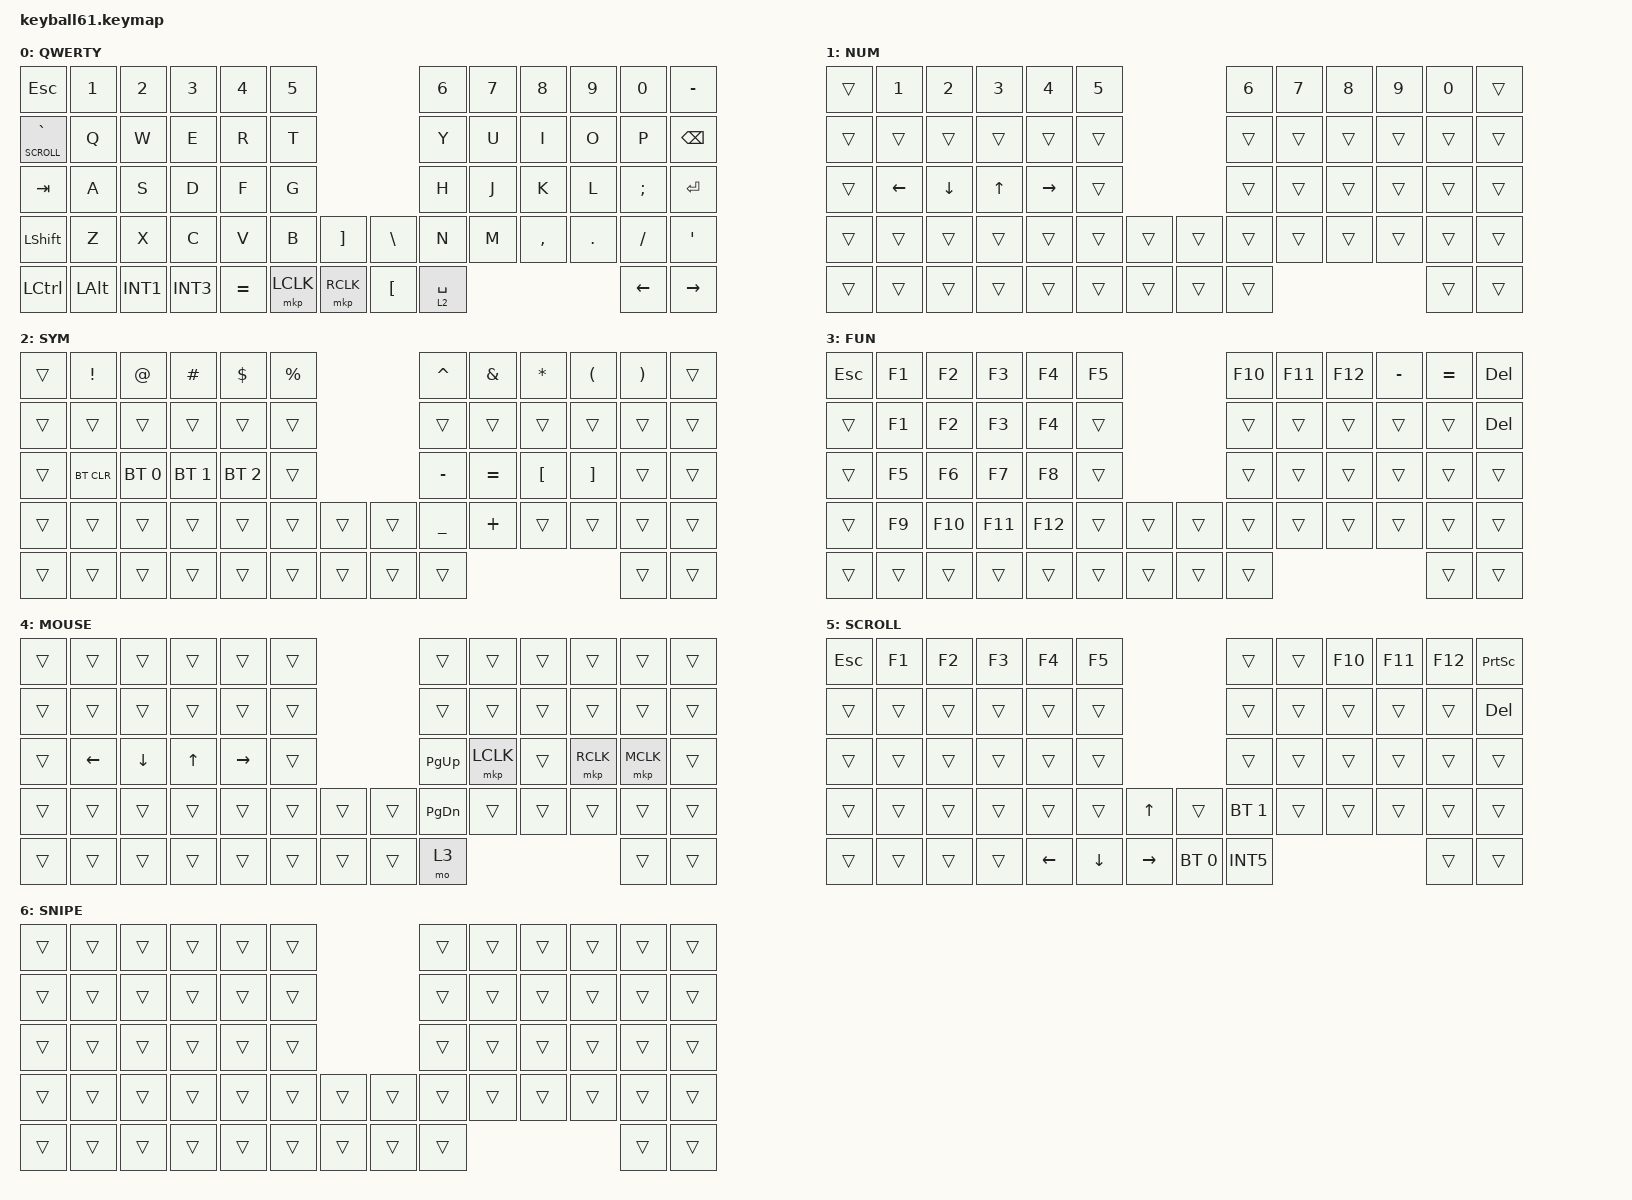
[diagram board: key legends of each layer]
#define DEFAULT 0
#define NUM     1
#define SYM     2
#define FUN     3
#define MOUSE   4
#define SCROLL  5
#define SNIPE   6

#include <behaviors/mouse_keys.dtsi>
#include <dt-bindings/zmk/mouse.h>
#include <behaviors.dtsi>
#include <dt-bindings/zmk/bt.h>
#include <dt-bindings/zmk/keys.h>
#include <dt-bindings/zmk/pointing.h>

&lt {
    tapping-term-ms = <240>;
    flavor = "balanced";
    quick-tap-ms = <150>;
};

&mt {
    tapping-term-ms = <200>;
    flavor = "tap-preferred";
    quick-tap-ms = <150>;
};

/ {
    keymap {
        compatible = "zmk,keymap";

        default_layer {
            bindings = <
&kp ESC           &kp N1    &kp N2    &kp N3    &kp N4     &kp N5                          &kp N6       &kp N7  &kp N8     &kp N9   &kp N0    &kp MINUS
&lt SCROLL GRAVE  &kp Q     &kp W     &kp E     &kp R      &kp T                           &kp Y        &kp U   &kp I      &kp O    &kp P     &kp BSPC
&kp TAB           &kp A     &kp S     &kp D     &kp F      &kp G                           &kp H        &kp J   &kp K      &kp L    &kp SEMI  &kp RET
&kp LSHFT         &kp Z     &kp X     &kp C     &kp V      &kp B      &kp RBKT   &kp BSLH  &kp N        &kp M   &kp COMMA  &kp DOT  &kp FSLH  &kp SQT
&kp LCTRL         &kp LALT  &kp INT1  &kp INT3  &kp EQUAL  &mkp LCLK  &mkp RCLK  &kp LBKT  &lt 2 SPACE                              &kp LEFT  &kp RIGHT
            >;

            label = "QWERTY";
        };

        number_layer {
            bindings = <
&trans  &kp N1    &kp N2    &kp N3  &kp N4     &kp N5                  &kp N6  &kp N7  &kp N8  &kp N9  &kp N0  &trans
&trans  &trans    &trans    &trans  &trans     &trans                  &trans  &trans  &trans  &trans  &trans  &trans
&trans  &kp LEFT  &kp DOWN  &kp UP  &kp RIGHT  &trans                  &trans  &trans  &trans  &trans  &trans  &trans
&trans  &trans    &trans    &trans  &trans     &trans  &trans  &trans  &trans  &trans  &trans  &trans  &trans  &trans
&trans  &trans    &trans    &trans  &trans     &trans  &trans  &trans  &trans                          &trans  &trans
            >;

            label = "NUM";
        };

        symbol_layer {
            label = "SYM";
            bindings = <
&trans  &kp EXCLAMATION  &kp AT_SIGN   &kp HASH      &kp DOLLAR    &kp PERCENT                  &kp CARET       &kp AMPERSAND  &kp ASTERISK      &kp LEFT_PARENTHESIS  &kp RIGHT_PARENTHESIS  &trans
&trans  &trans           &trans        &trans        &trans        &trans                       &trans          &trans         &trans            &trans                &trans                 &trans
&trans  &bt BT_CLR       &bt BT_SEL 0  &bt BT_SEL 1  &bt BT_SEL 2  &trans                       &kp MINUS       &kp EQUAL      &kp LEFT_BRACKET  &kp RIGHT_BRACKET     &trans                 &trans
&trans  &trans           &trans        &trans        &trans        &trans       &trans  &trans  &kp UNDERSCORE  &kp PLUS       &trans            &trans                &trans                 &trans
&trans  &trans           &trans        &trans        &trans        &trans       &trans  &trans  &trans                                                                 &trans                 &trans
            >;
        };

        function_layer {
            label = "FUN";
            bindings = <
&kp ESC  &kp F1  &kp F2   &kp F3   &kp F4   &kp F5                  &kp F10  &kp F11  &kp F12  &kp MINUS  &kp EQUAL  &kp DEL
&trans   &kp F1  &kp F2   &kp F3   &kp F4   &trans                  &trans   &trans   &trans   &trans     &trans     &kp DEL
&trans   &kp F5  &kp F6   &kp F7   &kp F8   &trans                  &trans   &trans   &trans   &trans     &trans     &trans
&trans   &kp F9  &kp F10  &kp F11  &kp F12  &trans  &trans  &trans  &trans   &trans   &trans   &trans     &trans     &trans
&trans   &trans  &trans   &trans   &trans   &trans  &trans  &trans  &trans                                &trans     &trans
            >;
        };

        mouse_layer {
            label = "MOUSE";
            bindings = <
&trans  &trans    &trans    &trans  &trans     &trans                  &trans         &trans     &trans  &trans     &trans     &trans
&trans  &trans    &trans    &trans  &trans     &trans                  &trans         &trans     &trans  &trans     &trans     &trans
&trans  &kp LEFT  &kp DOWN  &kp UP  &kp RIGHT  &trans                  &kp PAGE_UP    &mkp LCLK  &trans  &mkp RCLK  &mkp MCLK  &trans
&trans  &trans    &trans    &trans  &trans     &trans  &trans  &trans  &kp PAGE_DOWN  &trans     &trans  &trans     &trans     &trans
&trans  &trans    &trans    &trans  &trans     &trans  &trans  &trans  &mo 3                                        &trans     &trans
            >;
        };

        scroll_layer {
            label = "SCROLL";
            bindings = <
&kp ESC  &kp F1  &kp F2  &kp F3  &kp F4    &kp F5                             &trans        &trans  &kp F10  &kp F11  &kp F12  &kp PSCRN
&trans   &trans  &trans  &trans  &trans    &trans                             &trans        &trans  &trans   &trans   &trans   &kp DEL
&trans   &trans  &trans  &trans  &trans    &trans                             &trans        &trans  &trans   &trans   &trans   &trans
&trans   &trans  &trans  &trans  &trans    &trans    &kp UP     &trans        &bt BT_SEL 1  &trans  &trans   &trans   &trans   &trans
&trans   &trans  &trans  &trans  &kp LEFT  &kp DOWN  &kp RIGHT  &bt BT_SEL 0  &kp INT5                                &trans   &trans
            >;
        };

        snipe_layer {
            label = "SNIPE";
            bindings = <
&trans  &trans  &trans  &trans  &trans  &trans                  &trans  &trans  &trans  &trans  &trans  &trans
&trans  &trans  &trans  &trans  &trans  &trans                  &trans  &trans  &trans  &trans  &trans  &trans
&trans  &trans  &trans  &trans  &trans  &trans                  &trans  &trans  &trans  &trans  &trans  &trans
&trans  &trans  &trans  &trans  &trans  &trans  &trans  &trans  &trans  &trans  &trans  &trans  &trans  &trans
&trans  &trans  &trans  &trans  &trans  &trans  &trans  &trans  &trans                          &trans  &trans
            >;
        };
    };
};
